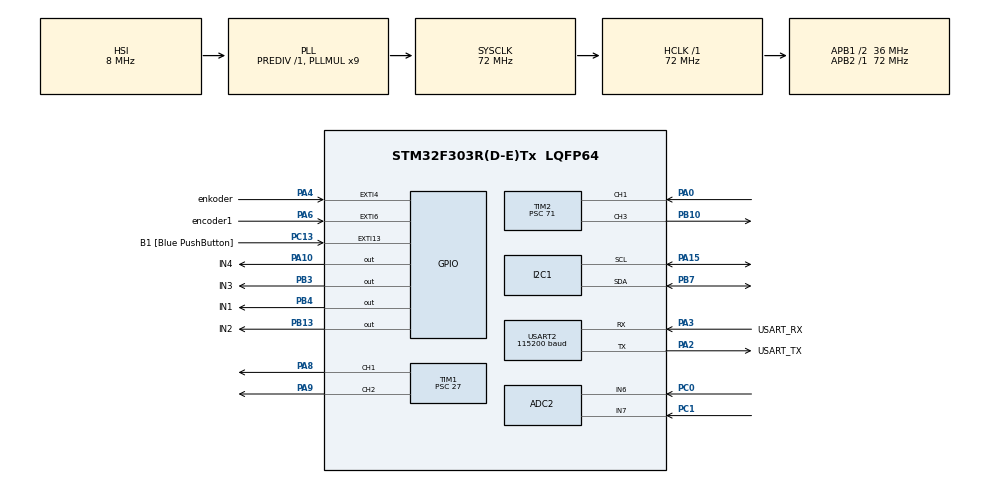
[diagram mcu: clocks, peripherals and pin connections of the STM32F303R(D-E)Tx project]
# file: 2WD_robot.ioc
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ADC2.Channel-0\#ChannelRegularConversion=ADC_CHANNEL_6
ADC2.Channel-1\#ChannelRegularConversion=ADC_CHANNEL_7
ADC2.ClockPrescaler=ADC_CLOCK_SYNC_PCLK_DIV4
ADC2.ContinuousConvMode=ENABLE
ADC2.DMAContinuousRequests=ENABLE
ADC2.NbrOfConversion=2
ADC2.NbrOfConversionFlag=1
ADC2.Offset-0\#ChannelRegularConversion=0
ADC2.Offset-1\#ChannelRegularConversion=0
ADC2.OffsetNumber-0\#ChannelRegularConversion=ADC_OFFSET_NONE
ADC2.OffsetNumber-1\#ChannelRegularConversion=ADC_OFFSET_NONE
ADC2.Rank-0\#ChannelRegularConversion=1
ADC2.Rank-1\#ChannelRegularConversion=2
ADC2.SamplingTime-0\#ChannelRegularConversion=ADC_SAMPLETIME_601CYCLES_5
ADC2.SamplingTime-1\#ChannelRegularConversion=ADC_SAMPLETIME_601CYCLES_5
ADC2.SamplingTimeOPAMP-1\#ChannelRegularConversion=ADC_SAMPLETIME_7CYCLES_5
Dma.ADC2.0.Direction=DMA_PERIPH_TO_MEMORY
Dma.ADC2.0.Instance=DMA2_Channel1
Dma.ADC2.0.MemDataAlignment=DMA_MDATAALIGN_HALFWORD
Dma.ADC2.0.MemInc=DMA_MINC_ENABLE
Dma.ADC2.0.Mode=DMA_CIRCULAR
Dma.ADC2.0.PeriphDataAlignment=DMA_PDATAALIGN_HALFWORD
Dma.ADC2.0.PeriphInc=DMA_PINC_DISABLE
Dma.ADC2.0.Priority=DMA_PRIORITY_LOW
Dma.Request0=ADC2
I2C1.Timing=0x00201D2B
Mcu.Family=STM32F3
Mcu.Name=STM32F303R(D-E)Tx
Mcu.Package=LQFP64
NVIC.DMA2_Channel1_IRQn=true\:0\:0\:false\:false\:true\:false\:true\:true
NVIC.EXTI4_IRQn=true\:0\:0\:false\:false\:true\:true\:true\:true
NVIC.EXTI9_5_IRQn=true\:0\:0\:false\:false\:true\:true\:true\:true
NVIC.PriorityGroup=NVIC_PRIORITYGROUP_0
NVIC.TIM2_IRQn=true\:0\:0\:false\:false\:true\:true\:true\:true
NVIC.TIM3_IRQn=true\:0\:0\:false\:false\:true\:true\:true\:true
PA0.Signal=S_TIM2_CH1_ETR
PA10.GPIO_Label=IN4
PA10.Signal=GPIO_Output
PA13.GPIO_Label=TMS
PA13.Mode=Serial_Wire
PA13.Signal=SYS_JTMS-SWDIO
PA14.GPIO_Label=TCK
PA14.Mode=Serial_Wire
PA14.Signal=SYS_JTCK-SWCLK
PA15.Mode=I2C
PA15.Signal=I2C1_SCL
PA2.GPIO_Label=USART_TX
PA2.GPIO_Mode=GPIO_MODE_AF_PP
PA2.GPIO_PuPd=GPIO_NOPULL
PA2.GPIO_Speed=GPIO_SPEED_FREQ_LOW
PA2.Mode=Asynchronous
PA2.Signal=USART2_TX
PA3.GPIO_Label=USART_RX
PA3.GPIO_Mode=GPIO_MODE_AF_PP
PA3.GPIO_PuPd=GPIO_NOPULL
PA3.GPIO_Speed=GPIO_SPEED_FREQ_LOW
PA3.Mode=Asynchronous
PA3.Signal=USART2_RX
PA4.GPIO_Label=enkoder
PA4.GPIO_ModeDefaultEXTI=GPIO_MODE_IT_RISING_FALLING
PA4.GPIO_PuPd=GPIO_PULLDOWN
PA4.Signal=GPXTI4
PA6.GPIO_Label=encoder1
PA6.GPIO_ModeDefaultEXTI=GPIO_MODE_IT_RISING_FALLING
PA6.GPIO_PuPd=GPIO_PULLDOWN
PA6.Signal=GPXTI6
PA8.Signal=S_TIM1_CH1
PA9.Signal=S_TIM1_CH2
PB10.Signal=S_TIM2_CH3
PB13.GPIO_Label=IN2
PB13.Signal=GPIO_Output
PB3.GPIO_Label=IN3
PB3.Signal=GPIO_Output
PB4.GPIO_Label=IN1
PB4.Signal=GPIO_Output
PB7.Mode=I2C
PB7.Signal=I2C1_SDA
PC0.Signal=ADCx_IN6
PC1.Signal=ADCx_IN7
PC13.GPIO_Label=B1 [Blue PushButton]
PC13.GPIO_ModeDefaultEXTI=GPIO_MODE_IT_FALLING
PC13.Signal=GPXTI13
PC14-OSC32_IN.Mode=LSE-External-Oscillator
PC14-OSC32_IN.Signal=RCC_OSC32_IN
PC15-OSC32_OUT.Mode=LSE-External-Oscillator
PC15-OSC32_OUT.Signal=RCC_OSC32_OUT
PF0-OSC_IN.Mode=HSE-External-Clock-Source
PF0-OSC_IN.Signal=RCC_OSC_IN
PF1-OSC_OUT.Signal=RCC_OSC_OUT
ProjectManager.HeapSize=0x200
ProjectManager.StackSize=0x400
ProjectManager.TargetToolchain=STM32CubeIDE
RCC.AHBFreq_Value=72000000
RCC.APB1CLKDivider=RCC_HCLK_DIV2
RCC.APB1Freq_Value=36000000
RCC.APB1TimFreq_Value=72000000
RCC.APB2Freq_Value=72000000
RCC.APB2TimFreq_Value=72000000
RCC.CortexFreq_Value=72000000
RCC.HCLKFreq_Value=72000000
RCC.HSE_VALUE=8000000
RCC.HSI_VALUE=8000000
RCC.PLLM=8
RCC.PLLMUL=RCC_PLL_MUL9
RCC.PLLN=336
RCC.PLLP=RCC_PLLP_DIV4
RCC.PLLQ=7
RCC.RCC_PLLsource_Clock_Source_FROM_HSE=RCC_HSE_PREDIV_DIV2
RCC.SYSCLKFreq_VALUE=72000000
RCC.SYSCLKSourceVirtual=RCC_SYSCLKSOURCE_PLLCLK
RCC.USBFreq_Value=72000000
SH.ADCx_IN6.0=ADC2_IN6,IN6-Single-Ended
SH.ADCx_IN7.0=ADC2_IN7,IN7-Single-Ended
SH.S_TIM1_CH1.0=TIM1_CH1,PWM Generation1 CH1
SH.S_TIM1_CH2.0=TIM1_CH2,PWM Generation2 CH2
SH.S_TIM2_CH1_ETR.0=TIM2_CH1,Input_Capture1_from_TI1
SH.S_TIM2_CH3.0=TIM2_CH3,PWM Generation3 CH3
TIM1.Channel-PWM\ Generation1\ CH1=TIM_CHANNEL_1
TIM1.Channel-PWM\ Generation2\ CH2=TIM_CHANNEL_2
TIM1.Period=100
TIM1.Prescaler=27
TIM1.Pulse-PWM\ Generation1\ CH1=50
TIM2.Channel-Input_Capture1_from_TI1=TIM_CHANNEL_1
TIM2.Channel-Input_Capture2_from_TI1_63=TIM_CHANNEL_2
TIM2.Channel-PWM\ Generation3\ CH3=TIM_CHANNEL_3
TIM2.ICPolarity_CH2=TIM_INPUTCHANNELPOLARITY_FALLING
TIM2.Period=99999
TIM2.Prescaler=71
TIM2.Pulse-PWM\ Generation3\ CH3=10
TIM3.Period=999
TIM3.Prescaler=7199
USART2.BaudRate=115200
USART2.VirtualMode-Asynchronous=VM_ASYNC
VP_TIM1_VS_ClockSourceINT.Mode=Internal
VP_TIM2_VS_ClockSourceINT.Mode=Internal
VP_TIM2_VS_indirect_ch1.Mode=Input_Capture2_from_TI1_63
VP_TIM3_VS_ClockSourceINT.Mode=Internal
board=NUCLEO-F303RE

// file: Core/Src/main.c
/* USER CODE BEGIN Header */
/**
  ******************************************************************************
  * @file           : main.c
  * @brief          : Main program body
  ******************************************************************************
  * @attention
  *
  * Copyright (c) 2025 STMicroelectronics.
  * All rights reserved.
  *
  * This software is licensed under terms that can be found in the LICENSE file
  * in the root directory of this software component.
  * If no LICENSE file comes with this software, it is provided AS-IS.
  *
  ******************************************************************************
  */
/* USER CODE END Header */
#include "main.h"

/* USER CODE BEGIN Includes */
#include <stdio.h>
#include <math.h>
/* USER CODE END Includes */

/* USER CODE BEGIN PD */

// dla dalszego rozwoju pod wyświetlacz
#define EDGES_PER_REV   24.0f
#define RPM_UPDATE_MS   100

#define JOYSTICK_INTERVAL 2000
#define JOYSTICK_PERIOD 100
#define JOYSTICK_LICZNIK_MAX (JOYSTICK_INTERVAL/JOYSTICK_PERIOD)
/* USER CODE END PD */

ADC_HandleTypeDef hadc2;
DMA_HandleTypeDef hdma_adc2;

I2C_HandleTypeDef hi2c1;

TIM_HandleTypeDef htim1;
TIM_HandleTypeDef htim2;
TIM_HandleTypeDef htim3;

UART_HandleTypeDef huart2;

void SystemClock_Config(void);
static void MX_GPIO_Init(void);
static void MX_DMA_Init(void);
static void MX_USART2_UART_Init(void);
static void MX_ADC2_Init(void);
static void MX_TIM1_Init(void);
static void MX_TIM2_Init(void);
static void MX_I2C1_Init(void);
static void MX_TIM3_Init(void);

/* USER CODE BEGIN 0 */
TIM_HandleTypeDef htim3;
TIM_HandleTypeDef htim6;

// obsługa pomiaru czasu
uint32_t currentTC=0;
uint32_t previousTC=0;
uint32_t period = 200;

// pomiar odległości
float odleglosc_meas;
float odleglosc_zadana = 20.0;

float Kp_odl = 0.3;

uint32_t start;
uint32_t stop;
uint32_t pulse_width;

// pomiar z enkodera transoptorowego
uint32_t edgeCountL = 0;
uint32_t edgeCountP = 0;

// obsługa joysticka
int temp = 0;
int32_t dir  = 0; // dir: 0 - środek, 1 - przód, 2 - tył
int32_t joystick_counter = 0;
float inc = 2.0f;

// nastawy do regulatora prędkości
float pred_zadana_backup = 40.0f;
float Kp = 1.5f;
float Ki = 1.0f;
float Kp1 = 0.5f;
float Ki1 = 0.25f;
float I_pred_L_prev = 0.0f;
float I_pred_P_prev = 0.0f;
float Ts = 0.1f;

uint16_t Joystick[] = {0, 0};
int __io_putchar(int ch)
{
  if (ch == '\n') {
    __io_putchar('\r');
  }
  HAL_UART_Transmit(&huart2, (uint8_t*)&ch, 1, HAL_MAX_DELAY);
  return 1;
}

void HAL_GPIO_EXTI_Callback(uint16_t GPIO_Pin)
{
	if(GPIO_Pin == enkoder_Pin){
		edgeCountL++;
	}
	if(GPIO_Pin == encoder1_Pin){
			edgeCountP++;
		}

}

void HAL_TIM_IC_CaptureCallback(TIM_HandleTypeDef *htim)
{
    if (htim->Instance == TIM2)
    {
        if (htim->Channel == HAL_TIM_ACTIVE_CHANNEL_1)
        {
        	start = HAL_TIM_ReadCapturedValue(htim, TIM_CHANNEL_1);
        }
        else if (htim->Channel == HAL_TIM_ACTIVE_CHANNEL_2)
        {
        	stop = HAL_TIM_ReadCapturedValue(htim, TIM_CHANNEL_2);

            if (stop >= start)
                pulse_width = stop - start;
            else
                pulse_width = (0xFFFF - start + stop);
        }
    }
}

void HAL_TIM_PeriodElapsedCallback(TIM_HandleTypeDef *htim)
{
	if(htim->Instance == TIM3){
		//	zmniejszenie zadanej odległości
			if(Joystick[0] < 200){
				if(dir != 2)
				{
					joystick_counter = 0;
					dir = 2;
				}
				else {

					joystick_counter++;
					if(joystick_counter >= JOYSTICK_LICZNIK_MAX)
					{
					odleglosc_zadana -= inc;
					joystick_counter = 0;
					}
				}
			}
		//	zwiększenie zadanej odległości
			else if(Joystick[0] > 3800){
				if(dir != 1)
				{
					joystick_counter = 0;
					dir = 1;
				}
				else {

					joystick_counter++;
					if(joystick_counter >= JOYSTICK_LICZNIK_MAX)
					{
					odleglosc_zadana += inc;
					joystick_counter = 0;
					}
				}
			}
		}
}

/* USER CODE END 0 */

int main(void)
{

  /* MCU Configuration--------------------------------------------------------*/

  /* Reset of all peripherals, Initializes the Flash interface and the Systick. */
  HAL_Init();

  /* Configure the system clock */
  SystemClock_Config();

  /* Initialize all configured peripherals */
  MX_GPIO_Init();
  MX_DMA_Init();
  MX_USART2_UART_Init();
  MX_ADC2_Init();
  MX_TIM1_Init();
  MX_TIM2_Init();
  MX_I2C1_Init();
  MX_TIM3_Init();
  /* USER CODE BEGIN 2 */
  HAL_ADC_Start_DMA(&hadc2, (long unsigned int *)Joystick, 2);
  HAL_TIM_PWM_Start(&htim1, TIM_CHANNEL_1);
  HAL_TIM_PWM_Start(&htim1, TIM_CHANNEL_2);
  HAL_TIM_PWM_Start(&htim2, TIM_CHANNEL_3);
  HAL_TIM_IC_Start(&htim2, TIM_CHANNEL_1);
  HAL_TIM_IC_Start(&htim2, TIM_CHANNEL_2);
  HAL_TIM_Base_Start_IT(&htim3);
  HAL_TIM_PeriodElapsedCallback(&htim3);

  /* USER CODE END 2 */

  /* Infinite loop */
  /* USER CODE BEGIN WHILE */
  while (1)
  {
	  temp = (int)roundf(200.0f * (1.0f - ((float)Joystick[0] / 4096.0f))-2);

  currentTC = HAL_GetTick();
  if ((currentTC - previousTC) > period){

//		obliczanie odlgełości
	  odleglosc_meas = pulse_width / 58.0f;
	  float uchyb_odl = odleglosc_zadana - odleglosc_meas;

	  float predosc_zadana = Kp_odl * uchyb_odl;

	  /* silnik lewy */
	  uint32_t pulse_count = edgeCountL;
	  edgeCountL = 0;

	  float uchyb_pred_L = predosc_zadana - (float)pulse_count;
	  float P_pred_L = Kp * uchyb_pred_L;
	  float I_pred_L = I_pred_L_prev + Ki *(float)uchyb_pred_L * Ts;
	  float uL = P_pred_L + I_pred_L;

//	  anti windup
	  uint32_t u_satL = (uint32_t) uL;
	  if (u_satL > 100) u_satL = 100;
	  else if (u_satL < 0) u_satL = 0;
	  else I_pred_L_prev =I_pred_L;

	  /* silnik prawy */
	  uint32_t pulse_count1 = edgeCountP;
	  edgeCountP = 0;

	  float uchyb_pred_P = predosc_zadana - (float)pulse_count1;
	  float P_pred_P = Kp1 * uchyb_pred_P;
	  float I_pred_P = I_pred_P_prev + Ki1 *(float)uchyb_pred_P * Ts;
	  float uP = P_pred_P + I_pred_P;

//	  anti windup
	  uint32_t u_satP = (uint32_t) uP;
	  if (u_satP > 100) u_satP = 100;
	  else if (u_satP < 0) u_satP = 0;
	  else I_pred_P_prev =I_pred_P;

	  printf("Silnik 1 - Duty: %ld, speed: %ld \tSilnik 2 -  Duty: %ld, speed: %ld \n", u_satL, pulse_count, u_satP, pulse_count1);

//	  uchyb mniejszy od 0 to pojazd jest za daleko
	  if(uchyb_odl < 0){
	    HAL_GPIO_WritePin(IN1_GPIO_Port, IN1_Pin, GPIO_PIN_SET);
	    HAL_GPIO_WritePin(IN2_GPIO_Port, IN2_Pin, GPIO_PIN_RESET);
	    HAL_GPIO_WritePin(IN3_GPIO_Port, IN3_Pin, GPIO_PIN_SET);
	    HAL_GPIO_WritePin(IN4_GPIO_Port, IN4_Pin, GPIO_PIN_RESET);
	  }
//	  uchyb wiekszy od 0 to pojazd jest za blisko
	  else
	  {
	    HAL_GPIO_WritePin(IN1_GPIO_Port, IN1_Pin, GPIO_PIN_RESET);
	    HAL_GPIO_WritePin(IN2_GPIO_Port, IN2_Pin, GPIO_PIN_SET);
	    HAL_GPIO_WritePin(IN3_GPIO_Port, IN3_Pin, GPIO_PIN_RESET);
	    HAL_GPIO_WritePin(IN4_GPIO_Port, IN4_Pin, GPIO_PIN_SET);
	  }

	__HAL_TIM_SET_COMPARE(&htim1, TIM_CHANNEL_1, u_satL);
	__HAL_TIM_SET_COMPARE(&htim1, TIM_CHANNEL_2, u_satP);

    previousTC = currentTC;
	 }else {

	 }
    /* USER CODE END WHILE */

  }
}

void SystemClock_Config(void)
{
  RCC_OscInitTypeDef RCC_OscInitStruct = {0};
  RCC_ClkInitTypeDef RCC_ClkInitStruct = {0};
  RCC_PeriphCLKInitTypeDef PeriphClkInit = {0};

  /** Initializes the RCC Oscillators according to the specified parameters
  * in the RCC_OscInitTypeDef structure.
  */
  RCC_OscInitStruct.OscillatorType = RCC_OSCILLATORTYPE_HSI;
  RCC_OscInitStruct.HSIState = RCC_HSI_ON;
  RCC_OscInitStruct.HSICalibrationValue = RCC_HSICALIBRATION_DEFAULT;
  RCC_OscInitStruct.PLL.PLLState = RCC_PLL_ON;
  RCC_OscInitStruct.PLL.PLLSource = RCC_PLLSOURCE_HSI;
  RCC_OscInitStruct.PLL.PLLMUL = RCC_PLL_MUL9;
  RCC_OscInitStruct.PLL.PREDIV = RCC_PREDIV_DIV1;
  if (HAL_RCC_OscConfig(&RCC_OscInitStruct) != HAL_OK)
  {
    Error_Handler();
  }

  /** Initializes the CPU, AHB and APB buses clocks
  */
  RCC_ClkInitStruct.ClockType = RCC_CLOCKTYPE_HCLK|RCC_CLOCKTYPE_SYSCLK
                              |RCC_CLOCKTYPE_PCLK1|RCC_CLOCKTYPE_PCLK2;
  RCC_ClkInitStruct.SYSCLKSource = RCC_SYSCLKSOURCE_PLLCLK;
  RCC_ClkInitStruct.AHBCLKDivider = RCC_SYSCLK_DIV1;
  RCC_ClkInitStruct.APB1CLKDivider = RCC_HCLK_DIV2;
  RCC_ClkInitStruct.APB2CLKDivider = RCC_HCLK_DIV1;

  if (HAL_RCC_ClockConfig(&RCC_ClkInitStruct, FLASH_LATENCY_2) != HAL_OK)
  {
    Error_Handler();
  }
  PeriphClkInit.PeriphClockSelection = RCC_PERIPHCLK_USART2|RCC_PERIPHCLK_I2C1
                              |RCC_PERIPHCLK_TIM1|RCC_PERIPHCLK_TIM2
                              |RCC_PERIPHCLK_TIM34;
  PeriphClkInit.Usart2ClockSelection = RCC_USART2CLKSOURCE_PCLK1;
  PeriphClkInit.I2c1ClockSelection = RCC_I2C1CLKSOURCE_HSI;
  PeriphClkInit.Tim1ClockSelection = RCC_TIM1CLK_HCLK;
  PeriphClkInit.Tim2ClockSelection = RCC_TIM2CLK_HCLK;
  PeriphClkInit.Tim34ClockSelection = RCC_TIM34CLK_HCLK;
  if (HAL_RCCEx_PeriphCLKConfig(&PeriphClkInit) != HAL_OK)
  {
    Error_Handler();
  }
}

static void MX_ADC2_Init(void)
{

  ADC_ChannelConfTypeDef sConfig = {0};

  /** Common config
  */
  hadc2.Instance = ADC2;
  hadc2.Init.ClockPrescaler = ADC_CLOCK_SYNC_PCLK_DIV4;
  hadc2.Init.Resolution = ADC_RESOLUTION_12B;
  hadc2.Init.ScanConvMode = ADC_SCAN_ENABLE;
  hadc2.Init.ContinuousConvMode = ENABLE;
  hadc2.Init.DiscontinuousConvMode = DISABLE;
  hadc2.Init.ExternalTrigConvEdge = ADC_EXTERNALTRIGCONVEDGE_NONE;
  hadc2.Init.ExternalTrigConv = ADC_SOFTWARE_START;
  hadc2.Init.DataAlign = ADC_DATAALIGN_RIGHT;
  hadc2.Init.NbrOfConversion = 2;
  hadc2.Init.DMAContinuousRequests = ENABLE;
  hadc2.Init.EOCSelection = ADC_EOC_SINGLE_CONV;
  hadc2.Init.LowPowerAutoWait = DISABLE;
  hadc2.Init.Overrun = ADC_OVR_DATA_OVERWRITTEN;
  if (HAL_ADC_Init(&hadc2) != HAL_OK)
  {
    Error_Handler();
  }

  /** Configure Regular Channel
  */
  sConfig.Channel = ADC_CHANNEL_6;
  sConfig.Rank = ADC_REGULAR_RANK_1;
  sConfig.SingleDiff = ADC_SINGLE_ENDED;
  sConfig.SamplingTime = ADC_SAMPLETIME_601CYCLES_5;
  sConfig.OffsetNumber = ADC_OFFSET_NONE;
  sConfig.Offset = 0;
  if (HAL_ADC_ConfigChannel(&hadc2, &sConfig) != HAL_OK)
  {
    Error_Handler();
  }

  /** Configure Regular Channel
  */
  sConfig.Channel = ADC_CHANNEL_7;
  sConfig.Rank = ADC_REGULAR_RANK_2;
  if (HAL_ADC_ConfigChannel(&hadc2, &sConfig) != HAL_OK)
  {
    Error_Handler();
  }

}

static void MX_I2C1_Init(void)
{

  hi2c1.Instance = I2C1;
  hi2c1.Init.Timing = 0x00201D2B;
  hi2c1.Init.OwnAddress1 = 0;
  hi2c1.Init.AddressingMode = I2C_ADDRESSINGMODE_7BIT;
  hi2c1.Init.DualAddressMode = I2C_DUALADDRESS_DISABLE;
  hi2c1.Init.OwnAddress2 = 0;
  hi2c1.Init.OwnAddress2Masks = I2C_OA2_NOMASK;
  hi2c1.Init.GeneralCallMode = I2C_GENERALCALL_DISABLE;
  hi2c1.Init.NoStretchMode = I2C_NOSTRETCH_DISABLE;
  if (HAL_I2C_Init(&hi2c1) != HAL_OK)
  {
    Error_Handler();
  }

  /** Configure Analogue filter
  */
  if (HAL_I2CEx_ConfigAnalogFilter(&hi2c1, I2C_ANALOGFILTER_ENABLE) != HAL_OK)
  {
    Error_Handler();
  }

  /** Configure Digital filter
  */
  if (HAL_I2CEx_ConfigDigitalFilter(&hi2c1, 0) != HAL_OK)
  {
    Error_Handler();
  }

}

static void MX_TIM1_Init(void)
{

  TIM_ClockConfigTypeDef sClockSourceConfig = {0};
  TIM_MasterConfigTypeDef sMasterConfig = {0};
  TIM_OC_InitTypeDef sConfigOC = {0};
  TIM_BreakDeadTimeConfigTypeDef sBreakDeadTimeConfig = {0};

  htim1.Instance = TIM1;
  htim1.Init.Prescaler = 27;
  htim1.Init.CounterMode = TIM_COUNTERMODE_UP;
  htim1.Init.Period = 100;
  htim1.Init.ClockDivision = TIM_CLOCKDIVISION_DIV1;
  htim1.Init.RepetitionCounter = 0;
  htim1.Init.AutoReloadPreload = TIM_AUTORELOAD_PRELOAD_DISABLE;
  if (HAL_TIM_Base_Init(&htim1) != HAL_OK)
  {
    Error_Handler();
  }
  sClockSourceConfig.ClockSource = TIM_CLOCKSOURCE_INTERNAL;
  if (HAL_TIM_ConfigClockSource(&htim1, &sClockSourceConfig) != HAL_OK)
  {
    Error_Handler();
  }
  if (HAL_TIM_PWM_Init(&htim1) != HAL_OK)
  {
    Error_Handler();
  }
  sMasterConfig.MasterOutputTrigger = TIM_TRGO_RESET;
  sMasterConfig.MasterOutputTrigger2 = TIM_TRGO2_RESET;
  sMasterConfig.MasterSlaveMode = TIM_MASTERSLAVEMODE_DISABLE;
  if (HAL_TIMEx_MasterConfigSynchronization(&htim1, &sMasterConfig) != HAL_OK)
  {
    Error_Handler();
  }
  sConfigOC.OCMode = TIM_OCMODE_PWM1;
  sConfigOC.Pulse = 50;
  sConfigOC.OCPolarity = TIM_OCPOLARITY_HIGH;
  sConfigOC.OCNPolarity = TIM_OCNPOLARITY_HIGH;
  sConfigOC.OCFastMode = TIM_OCFAST_DISABLE;
  sConfigOC.OCIdleState = TIM_OCIDLESTATE_RESET;
  sConfigOC.OCNIdleState = TIM_OCNIDLESTATE_RESET;
  if (HAL_TIM_PWM_ConfigChannel(&htim1, &sConfigOC, TIM_CHANNEL_1) != HAL_OK)
  {
    Error_Handler();
  }
  sConfigOC.Pulse = 0;
  if (HAL_TIM_PWM_ConfigChannel(&htim1, &sConfigOC, TIM_CHANNEL_2) != HAL_OK)
  {
    Error_Handler();
  }
  sBreakDeadTimeConfig.OffStateRunMode = TIM_OSSR_DISABLE;
  sBreakDeadTimeConfig.OffStateIDLEMode = TIM_OSSI_DISABLE;
  sBreakDeadTimeConfig.LockLevel = TIM_LOCKLEVEL_OFF;
  sBreakDeadTimeConfig.DeadTime = 0;
  sBreakDeadTimeConfig.BreakState = TIM_BREAK_DISABLE;
  sBreakDeadTimeConfig.BreakPolarity = TIM_BREAKPOLARITY_HIGH;
  sBreakDeadTimeConfig.BreakFilter = 0;
  sBreakDeadTimeConfig.Break2State = TIM_BREAK2_DISABLE;
  sBreakDeadTimeConfig.Break2Polarity = TIM_BREAK2POLARITY_HIGH;
  sBreakDeadTimeConfig.Break2Filter = 0;
  sBreakDeadTimeConfig.AutomaticOutput = TIM_AUTOMATICOUTPUT_DISABLE;
  if (HAL_TIMEx_ConfigBreakDeadTime(&htim1, &sBreakDeadTimeConfig) != HAL_OK)
  {
    Error_Handler();
  }
  HAL_TIM_MspPostInit(&htim1);

}

static void MX_TIM2_Init(void)
{

  TIM_ClockConfigTypeDef sClockSourceConfig = {0};
  TIM_MasterConfigTypeDef sMasterConfig = {0};
  TIM_IC_InitTypeDef sConfigIC = {0};
  TIM_OC_InitTypeDef sConfigOC = {0};

  htim2.Instance = TIM2;
  htim2.Init.Prescaler = 71;
  htim2.Init.CounterMode = TIM_COUNTERMODE_UP;
  htim2.Init.Period = 99999;
  htim2.Init.ClockDivision = TIM_CLOCKDIVISION_DIV1;
  htim2.Init.AutoReloadPreload = TIM_AUTORELOAD_PRELOAD_DISABLE;
  if (HAL_TIM_Base_Init(&htim2) != HAL_OK)
  {
    Error_Handler();
  }
  sClockSourceConfig.ClockSource = TIM_CLOCKSOURCE_INTERNAL;
  if (HAL_TIM_ConfigClockSource(&htim2, &sClockSourceConfig) != HAL_OK)
  {
    Error_Handler();
  }
  if (HAL_TIM_IC_Init(&htim2) != HAL_OK)
  {
    Error_Handler();
  }
  if (HAL_TIM_PWM_Init(&htim2) != HAL_OK)
  {
    Error_Handler();
  }
  sMasterConfig.MasterOutputTrigger = TIM_TRGO_RESET;
  sMasterConfig.MasterSlaveMode = TIM_MASTERSLAVEMODE_DISABLE;
  if (HAL_TIMEx_MasterConfigSynchronization(&htim2, &sMasterConfig) != HAL_OK)
  {
    Error_Handler();
  }
  sConfigIC.ICPolarity = TIM_INPUTCHANNELPOLARITY_RISING;
  sConfigIC.ICSelection = TIM_ICSELECTION_DIRECTTI;
  sConfigIC.ICPrescaler = TIM_ICPSC_DIV1;
  sConfigIC.ICFilter = 0;
  if (HAL_TIM_IC_ConfigChannel(&htim2, &sConfigIC, TIM_CHANNEL_1) != HAL_OK)
  {
    Error_Handler();
  }
  sConfigIC.ICPolarity = TIM_INPUTCHANNELPOLARITY_FALLING;
  sConfigIC.ICSelection = TIM_ICSELECTION_INDIRECTTI;
  if (HAL_TIM_IC_ConfigChannel(&htim2, &sConfigIC, TIM_CHANNEL_2) != HAL_OK)
  {
    Error_Handler();
  }
  sConfigOC.OCMode = TIM_OCMODE_PWM1;
  sConfigOC.Pulse = 10;
  sConfigOC.OCPolarity = TIM_OCPOLARITY_HIGH;
  sConfigOC.OCFastMode = TIM_OCFAST_DISABLE;
  if (HAL_TIM_PWM_ConfigChannel(&htim2, &sConfigOC, TIM_CHANNEL_3) != HAL_OK)
  {
    Error_Handler();
  }
  HAL_TIM_MspPostInit(&htim2);

}

static void MX_TIM3_Init(void)
{

  TIM_ClockConfigTypeDef sClockSourceConfig = {0};
  TIM_MasterConfigTypeDef sMasterConfig = {0};

  htim3.Instance = TIM3;
  htim3.Init.Prescaler = 7199;
  htim3.Init.CounterMode = TIM_COUNTERMODE_UP;
  htim3.Init.Period = 999;
  htim3.Init.ClockDivision = TIM_CLOCKDIVISION_DIV1;
  htim3.Init.AutoReloadPreload = TIM_AUTORELOAD_PRELOAD_DISABLE;
  if (HAL_TIM_Base_Init(&htim3) != HAL_OK)
  {
    Error_Handler();
  }
  sClockSourceConfig.ClockSource = TIM_CLOCKSOURCE_INTERNAL;
  if (HAL_TIM_ConfigClockSource(&htim3, &sClockSourceConfig) != HAL_OK)
  {
    Error_Handler();
  }
  sMasterConfig.MasterOutputTrigger = TIM_TRGO_RESET;
  sMasterConfig.MasterSlaveMode = TIM_MASTERSLAVEMODE_DISABLE;
  if (HAL_TIMEx_MasterConfigSynchronization(&htim3, &sMasterConfig) != HAL_OK)
  {
    Error_Handler();
  }

}

static void MX_USART2_UART_Init(void)
{

  huart2.Instance = USART2;
  huart2.Init.BaudRate = 115200;
  huart2.Init.WordLength = UART_WORDLENGTH_8B;
  huart2.Init.StopBits = UART_STOPBITS_1;
  huart2.Init.Parity = UART_PARITY_NONE;
  huart2.Init.Mode = UART_MODE_TX_RX;
  huart2.Init.HwFlowCtl = UART_HWCONTROL_NONE;
  huart2.Init.OverSampling = UART_OVERSAMPLING_16;
  huart2.Init.OneBitSampling = UART_ONE_BIT_SAMPLE_DISABLE;
  huart2.AdvancedInit.AdvFeatureInit = UART_ADVFEATURE_NO_INIT;
  if (HAL_UART_Init(&huart2) != HAL_OK)
  {
    Error_Handler();
  }

}

static void MX_DMA_Init(void)
{

  /* DMA controller clock enable */
  __HAL_RCC_DMA2_CLK_ENABLE();

  /* DMA interrupt init */
  /* DMA2_Channel1_IRQn interrupt configuration */
  HAL_NVIC_SetPriority(DMA2_Channel1_IRQn, 0, 0);
  HAL_NVIC_EnableIRQ(DMA2_Channel1_IRQn);

}

static void MX_GPIO_Init(void)
{
  GPIO_InitTypeDef GPIO_InitStruct = {0};

  /* GPIO Ports Clock Enable */
  __HAL_RCC_GPIOC_CLK_ENABLE();
  __HAL_RCC_GPIOF_CLK_ENABLE();
  __HAL_RCC_GPIOA_CLK_ENABLE();
  __HAL_RCC_GPIOB_CLK_ENABLE();

  /*Configure GPIO pin Output Level */
  HAL_GPIO_WritePin(GPIOB, IN2_Pin|IN3_Pin|IN1_Pin, GPIO_PIN_RESET);

  /*Configure GPIO pin Output Level */
  HAL_GPIO_WritePin(IN4_GPIO_Port, IN4_Pin, GPIO_PIN_RESET);

  /*Configure GPIO pin : B1_Pin */
  GPIO_InitStruct.Pin = B1_Pin;
  GPIO_InitStruct.Mode = GPIO_MODE_IT_FALLING;
  GPIO_InitStruct.Pull = GPIO_NOPULL;
  HAL_GPIO_Init(B1_GPIO_Port, &GPIO_InitStruct);

  /*Configure GPIO pins : enkoder_Pin encoder1_Pin */
  GPIO_InitStruct.Pin = enkoder_Pin|encoder1_Pin;
  GPIO_InitStruct.Mode = GPIO_MODE_IT_RISING_FALLING;
  GPIO_InitStruct.Pull = GPIO_PULLDOWN;
  HAL_GPIO_Init(GPIOA, &GPIO_InitStruct);

  /*Configure GPIO pins : IN2_Pin IN3_Pin IN1_Pin */
  GPIO_InitStruct.Pin = IN2_Pin|IN3_Pin|IN1_Pin;
  GPIO_InitStruct.Mode = GPIO_MODE_OUTPUT_PP;
  GPIO_InitStruct.Pull = GPIO_NOPULL;
  GPIO_InitStruct.Speed = GPIO_SPEED_FREQ_LOW;
  HAL_GPIO_Init(GPIOB, &GPIO_InitStruct);

  /*Configure GPIO pin : IN4_Pin */
  GPIO_InitStruct.Pin = IN4_Pin;
  GPIO_InitStruct.Mode = GPIO_MODE_OUTPUT_PP;
  GPIO_InitStruct.Pull = GPIO_NOPULL;
  GPIO_InitStruct.Speed = GPIO_SPEED_FREQ_LOW;
  HAL_GPIO_Init(IN4_GPIO_Port, &GPIO_InitStruct);

  /* EXTI interrupt init*/
  HAL_NVIC_SetPriority(EXTI4_IRQn, 0, 0);
  HAL_NVIC_EnableIRQ(EXTI4_IRQn);

  HAL_NVIC_SetPriority(EXTI9_5_IRQn, 0, 0);
  HAL_NVIC_EnableIRQ(EXTI9_5_IRQn);

}

void Error_Handler(void)
{
  __disable_irq();
  while (1)
  {
  }
}
